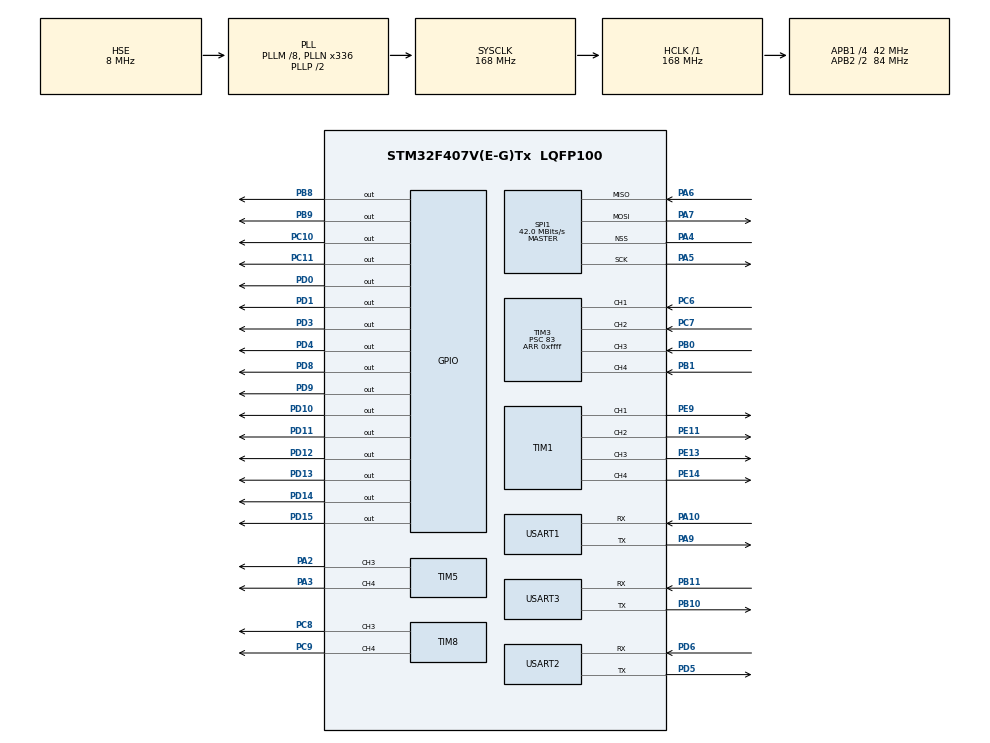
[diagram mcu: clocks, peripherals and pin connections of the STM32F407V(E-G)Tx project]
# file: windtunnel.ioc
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Dma.Request0=USART1_TX
Dma.USART1_TX.0.Channel=DMA_CHANNEL_4
Dma.USART1_TX.0.Direction=DMA_MEMORY_TO_PERIPH
Dma.USART1_TX.0.FIFOMode=DMA_FIFOMODE_DISABLE
Dma.USART1_TX.0.FIFOThreshold=DMA_FIFO_THRESHOLD_FULL
Dma.USART1_TX.0.Instance=DMA2_Stream7
Dma.USART1_TX.0.MemBurst=DMA_MBURST_SINGLE
Dma.USART1_TX.0.MemDataAlignment=DMA_MDATAALIGN_BYTE
Dma.USART1_TX.0.MemInc=DMA_MINC_ENABLE
Dma.USART1_TX.0.Mode=DMA_NORMAL
Dma.USART1_TX.0.PeriphBurst=DMA_PBURST_SINGLE
Dma.USART1_TX.0.PeriphDataAlignment=DMA_PDATAALIGN_BYTE
Dma.USART1_TX.0.PeriphInc=DMA_PINC_DISABLE
Dma.USART1_TX.0.Priority=DMA_PRIORITY_HIGH
FREERTOS.Tasks01=defaultTask,0,128,StartDefaultTask
Mcu.Family=STM32F4
Mcu.Name=STM32F407V(E-G)Tx
Mcu.Package=LQFP100
NVIC.DMA2_Stream7_IRQn=true\:5\:0\:false
NVIC.PriorityGroup=NVIC_PRIORITYGROUP_4
NVIC.TIM3_IRQn=true\:6\:0\:true
NVIC.USART1_IRQn=true\:5\:0\:true
PA10.Mode=Asynchronous
PA10.Signal=USART1_RX
PA13.Mode=Serial-Wire
PA13.Signal=SYS_JTMS-SWDIO
PA14.Mode=Serial-Wire
PA14.Signal=SYS_JTCK-SWCLK
PA2.Signal=S_TIM5_CH3
PA3.Signal=S_TIM5_CH4
PA4.Mode=NSS_Signal_Hard
PA4.Signal=SPI1_NSS
PA5.Mode=Full_Duplex_Master
PA5.Signal=SPI1_SCK
PA6.Mode=Full_Duplex_Master
PA6.Signal=SPI1_MISO
PA7.Mode=Full_Duplex_Master
PA7.Signal=SPI1_MOSI
PA9.Mode=Asynchronous
PA9.Signal=USART1_TX
PB0.GPIO_ModeDefaultPP=GPIO_MODE_AF_PP
PB0.GPIO_PuPd=GPIO_PULLDOWN
PB0.GPIO_Speed=GPIO_SPEED_HIGH
PB0.Signal=S_TIM3_CH3
PB1.GPIO_ModeDefaultPP=GPIO_MODE_AF_PP
PB1.GPIO_PuPd=GPIO_PULLDOWN
PB1.GPIO_Speed=GPIO_SPEED_HIGH
PB1.Signal=S_TIM3_CH4
PB10.Mode=Asynchronous
PB10.Signal=USART3_TX
PB11.Mode=Asynchronous
PB11.Signal=USART3_RX
PB8.GPIO_ModeDefaultOutputPP=GPIO_MODE_OUTPUT_PP
PB8.GPIO_PuPd=GPIO_NOPULL
PB8.GPIO_Speed=GPIO_SPEED_HIGH
PB8.Signal=GPIO_Output
PB9.GPIO_ModeDefaultOutputPP=GPIO_MODE_OUTPUT_PP
PB9.GPIO_PuPd=GPIO_NOPULL
PB9.GPIO_Speed=GPIO_SPEED_HIGH
PB9.Signal=GPIO_Output
PC10.GPIO_ModeDefaultOutputPP=GPIO_MODE_OUTPUT_PP
PC10.GPIO_PuPd=GPIO_NOPULL
PC10.GPIO_Speed=GPIO_SPEED_HIGH
PC10.Signal=GPIO_Output
PC11.GPIO_ModeDefaultOutputPP=GPIO_MODE_OUTPUT_PP
PC11.GPIO_PuPd=GPIO_NOPULL
PC11.GPIO_Speed=GPIO_SPEED_HIGH
PC11.Signal=GPIO_Output
PC14-OSC32_IN.Mode=LSE-External-Oscillator
PC14-OSC32_IN.Signal=RCC_OSC32_IN
PC15-OSC32_OUT.Mode=LSE-External-Oscillator
PC15-OSC32_OUT.Signal=RCC_OSC32_OUT
PC6.GPIO_ModeDefaultPP=GPIO_MODE_AF_PP
PC6.GPIO_PuPd=GPIO_PULLDOWN
PC6.GPIO_Speed=GPIO_SPEED_HIGH
PC6.Signal=S_TIM3_CH1
PC7.GPIO_ModeDefaultPP=GPIO_MODE_AF_PP
PC7.GPIO_PuPd=GPIO_PULLDOWN
PC7.GPIO_Speed=GPIO_SPEED_HIGH
PC7.Signal=S_TIM3_CH2
PC8.Signal=S_TIM8_CH3
PC9.Signal=S_TIM8_CH4
PD0.GPIO_ModeDefaultOutputPP=GPIO_MODE_OUTPUT_PP
PD0.GPIO_PuPd=GPIO_NOPULL
PD0.GPIO_Speed=GPIO_SPEED_HIGH
PD0.Signal=GPIO_Output
PD1.GPIO_ModeDefaultOutputPP=GPIO_MODE_OUTPUT_PP
PD1.GPIO_PuPd=GPIO_NOPULL
PD1.GPIO_Speed=GPIO_SPEED_HIGH
PD1.Signal=GPIO_Output
PD10.GPIO_ModeDefaultOutputPP=GPIO_MODE_OUTPUT_PP
PD10.GPIO_PuPd=GPIO_NOPULL
PD10.GPIO_Speed=GPIO_SPEED_HIGH
PD10.Signal=GPIO_Output
PD11.GPIO_ModeDefaultOutputPP=GPIO_MODE_OUTPUT_PP
PD11.GPIO_PuPd=GPIO_NOPULL
PD11.GPIO_Speed=GPIO_SPEED_HIGH
PD11.Signal=GPIO_Output
PD12.GPIO_ModeDefaultOutputPP=GPIO_MODE_OUTPUT_PP
PD12.GPIO_PuPd=GPIO_NOPULL
PD12.GPIO_Speed=GPIO_SPEED_HIGH
PD12.Signal=GPIO_Output
PD13.GPIO_ModeDefaultOutputPP=GPIO_MODE_OUTPUT_PP
PD13.GPIO_PuPd=GPIO_NOPULL
PD13.GPIO_Speed=GPIO_SPEED_HIGH
PD13.Signal=GPIO_Output
PD14.GPIO_ModeDefaultOutputPP=GPIO_MODE_OUTPUT_PP
PD14.GPIO_PuPd=GPIO_NOPULL
PD14.GPIO_Speed=GPIO_SPEED_HIGH
PD14.Signal=GPIO_Output
PD15.GPIO_ModeDefaultOutputPP=GPIO_MODE_OUTPUT_PP
PD15.GPIO_PuPd=GPIO_NOPULL
PD15.GPIO_Speed=GPIO_SPEED_HIGH
PD15.Signal=GPIO_Output
PD3.GPIO_ModeDefaultOutputPP=GPIO_MODE_OUTPUT_PP
PD3.GPIO_PuPd=GPIO_NOPULL
PD3.GPIO_Speed=GPIO_SPEED_HIGH
PD3.Signal=GPIO_Output
PD4.GPIO_ModeDefaultOutputPP=GPIO_MODE_OUTPUT_PP
PD4.GPIO_PuPd=GPIO_NOPULL
PD4.GPIO_Speed=GPIO_SPEED_HIGH
PD4.Signal=GPIO_Output
PD5.Mode=Asynchronous
PD5.Signal=USART2_TX
PD6.Mode=Asynchronous
PD6.Signal=USART2_RX
PD8.GPIO_ModeDefaultOutputPP=GPIO_MODE_OUTPUT_PP
PD8.GPIO_PuPd=GPIO_NOPULL
PD8.GPIO_Speed=GPIO_SPEED_HIGH
PD8.Signal=GPIO_Output
PD9.GPIO_ModeDefaultOutputPP=GPIO_MODE_OUTPUT_PP
PD9.GPIO_PuPd=GPIO_NOPULL
PD9.GPIO_Speed=GPIO_SPEED_HIGH
PD9.Signal=GPIO_Output
PE11.Signal=S_TIM1_CH2
PE13.Signal=S_TIM1_CH3
PE14.Signal=S_TIM1_CH4
PE9.Signal=S_TIM1_CH1
PH0-OSC_IN.Mode=HSE-External-Oscillator
PH0-OSC_IN.Signal=RCC_OSC_IN
PH1-OSC_OUT.Mode=HSE-External-Oscillator
PH1-OSC_OUT.Signal=RCC_OSC_OUT
ProjectManager.TargetToolchain=MDK-ARM V5
RCC.48MHZClocksFreq_Value=84000000
RCC.AHBFreq_Value=168000000
RCC.APB1CLKDivider=RCC_HCLK_DIV4
RCC.APB1Freq_Value=42000000
RCC.APB1TimFreq_Value=84000000
RCC.APB2CLKDivider=RCC_HCLK_DIV2
RCC.APB2Freq_Value=84000000
RCC.APB2TimFreq_Value=168000000
RCC.CortexFreq_Value=168000000
RCC.HCLKFreq_Value=168000000
RCC.HSE_VALUE=8000000
RCC.HSI_VALUE=16000000
RCC.PLLM=8
RCC.PLLN=336
RCC.PLLSourceVirtual=RCC_PLLSOURCE_HSE
RCC.SYSCLKFreq_VALUE=168000000
RCC.SYSCLKSource=RCC_SYSCLKSOURCE_PLLCLK
RCC.VCOOutputFreq_Value=336000000
SH.S_TIM1_CH1.0=TIM1_CH1,PWM Generation1 CH1
SH.S_TIM1_CH2.0=TIM1_CH2,PWM Generation2 CH2
SH.S_TIM1_CH3.0=TIM1_CH3,PWM Generation3 CH3
SH.S_TIM1_CH4.0=TIM1_CH4,PWM Generation4 CH4
SH.S_TIM3_CH1.0=TIM3_CH1,Input_Capture1_from_TI1
SH.S_TIM3_CH2.0=TIM3_CH2,Input_Capture2_from_TI2
SH.S_TIM3_CH3.0=TIM3_CH3,Input_Capture3_from_TI3
SH.S_TIM3_CH4.0=TIM3_CH4,Input_Capture4_from_TI4
SH.S_TIM5_CH3.0=TIM5_CH3,PWM Generation3 CH3
SH.S_TIM5_CH4.0=TIM5_CH4,PWM Generation4 CH4
SH.S_TIM8_CH3.0=TIM8_CH3,PWM Generation3 CH3
SH.S_TIM8_CH4.0=TIM8_CH4,PWM Generation4 CH4
SPI1.BaudRatePrescaler=SPI_BAUDRATEPRESCALER_2
SPI1.CalculateBaudRate=42.0 MBits/s
SPI1.Mode=SPI_MODE_MASTER
SPI1.VirtualNSS=VM_NSSHARD
TIM1.Channel-PWM\ Generation2\ CH2=TIM_CHANNEL_2
TIM1.Channel-PWM\ Generation3\ CH3=TIM_CHANNEL_3
TIM1.Channel-PWM\ Generation4\ CH4=TIM_CHANNEL_4
TIM3.Channel-Input_Capture2_from_TI2=TIM_CHANNEL_2
TIM3.Channel-Input_Capture3_from_TI3=TIM_CHANNEL_3
TIM3.Channel-Input_Capture4_from_TI4=TIM_CHANNEL_4
TIM3.Period=0xffff
TIM3.Prescaler=83
TIM5.Channel-PWM\ Generation3\ CH3=TIM_CHANNEL_3
TIM5.Channel-PWM\ Generation4\ CH4=TIM_CHANNEL_4
TIM8.Channel-PWM\ Generation3\ CH3=TIM_CHANNEL_3
TIM8.Channel-PWM\ Generation4\ CH4=TIM_CHANNEL_4
VP_FREERTOS_VS_ENABLE.Mode=Enabled
VP_TIM1_VS_ClockSourceINT.Mode=Internal
VP_TIM3_VS_ClockSourceINT.Mode=Internal
VP_TIM5_VS_ClockSourceINT.Mode=Internal
VP_TIM8_VS_ClockSourceINT.Mode=Internal
board=windtunnel

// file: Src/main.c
/**
  ******************************************************************************
  * File Name          : main.c
  * Description        : Main program body
  ******************************************************************************
  *
  * COPYRIGHT(c) 2016 STMicroelectronics
  *
  * Redistribution and use in source and binary forms, with or without modification,
  * are permitted provided that the following conditions are met:
  *   1. Redistributions of source code must retain the above copyright notice,
  *      this list of conditions and the following disclaimer.
  *   2. Redistributions in binary form must reproduce the above copyright notice,
  *      this list of conditions and the following disclaimer in the documentation
  *      and/or other materials provided with the distribution.
  *   3. Neither the name of STMicroelectronics nor the names of its contributors
  *      may be used to endorse or promote products derived from this software
  *      without specific prior written permission.
  *
  * THIS SOFTWARE IS PROVIDED BY THE COPYRIGHT HOLDERS AND CONTRIBUTORS "AS IS"
  * AND ANY EXPRESS OR IMPLIED WARRANTIES, INCLUDING, BUT NOT LIMITED TO, THE
  * IMPLIED WARRANTIES OF MERCHANTABILITY AND FITNESS FOR A PARTICULAR PURPOSE ARE
  * DISCLAIMED. IN NO EVENT SHALL THE COPYRIGHT HOLDER OR CONTRIBUTORS BE LIABLE
  * FOR ANY DIRECT, INDIRECT, INCIDENTAL, SPECIAL, EXEMPLARY, OR CONSEQUENTIAL
  * DAMAGES (INCLUDING, BUT NOT LIMITED TO, PROCUREMENT OF SUBSTITUTE GOODS OR
  * SERVICES; LOSS OF USE, DATA, OR PROFITS; OR BUSINESS INTERRUPTION) HOWEVER
  * CAUSED AND ON ANY THEORY OF LIABILITY, WHETHER IN CONTRACT, STRICT LIABILITY,
  * OR TORT (INCLUDING NEGLIGENCE OR OTHERWISE) ARISING IN ANY WAY OUT OF THE USE
  * OF THIS SOFTWARE, EVEN IF ADVISED OF THE POSSIBILITY OF SUCH DAMAGE.
  *
  ******************************************************************************
  */
#include "stm32f4xx_hal.h"
#include "cmsis_os.h"
#include "dma.h"
#include "spi.h"
#include "tim.h"
#include "usart.h"
#include "gpio.h"

/* USER CODE BEGIN PV */
/* Private variables ---------------------------------------------------------*/

/* USER CODE END PV */

void SystemClock_Config(void);
void MX_FREERTOS_Init(void);

/* USER CODE BEGIN PFP */
/* Private function prototypes -----------------------------------------------*/

/* USER CODE END PFP */

int main(void)
{

  /* MCU Configuration----------------------------------------------------------*/

  /* Reset of all peripherals, Initializes the Flash interface and the Systick. */
  HAL_Init();

  /* Configure the system clock */
  SystemClock_Config();

  /* Initialize all configured peripherals */
  MX_GPIO_Init();
  MX_DMA_Init();
  MX_SPI1_Init();
  MX_TIM1_Init();
  MX_TIM3_Init();
  MX_TIM5_Init();
  MX_TIM8_Init();
  MX_USART1_UART_Init();
  MX_USART2_UART_Init();
  MX_USART3_UART_Init();

  /* USER CODE BEGIN 2 */
	HAL_TIM_IC_Start_IT(&htim3,TIM_CHANNEL_1);
	HAL_TIM_IC_Start_IT(&htim3,TIM_CHANNEL_2);
	HAL_TIM_IC_Start_IT(&htim3,TIM_CHANNEL_3);
	HAL_TIM_IC_Start_IT(&htim3,TIM_CHANNEL_4);

	HAL_TIM_Base_Start_IT(&htim3);

	HAL_TIM_PWM_Start(&htim1,  TIM_CHANNEL_1);
	HAL_TIM_PWM_Start(&htim1,  TIM_CHANNEL_2);
	HAL_TIM_PWM_Start(&htim1,  TIM_CHANNEL_3);
	HAL_TIM_PWM_Start(&htim1,  TIM_CHANNEL_4);
	HAL_TIM_PWM_Start(&htim5,  TIM_CHANNEL_3);
	HAL_TIM_PWM_Start(&htim5,  TIM_CHANNEL_4);
	HAL_TIM_PWM_Start(&htim8,  TIM_CHANNEL_3);
	HAL_TIM_PWM_Start(&htim8,  TIM_CHANNEL_4);
	__HAL_UART_ENABLE_IT(&huart1, UART_IT_RXNE);
	//USART1->CR3|=USART_CR3_DMAT;
  /* USER CODE END 2 */

  /* Call init function for freertos objects (in freertos.c) */
  MX_FREERTOS_Init();

  /* Start scheduler */
  osKernelStart();

  /* We should never get here as control is now taken by the scheduler */

  /* Infinite loop */
  while (1)
  {

  }

}

/** System Clock Configuration
*/
void SystemClock_Config(void)
{

  RCC_OscInitTypeDef RCC_OscInitStruct;
  RCC_ClkInitTypeDef RCC_ClkInitStruct;

  __PWR_CLK_ENABLE();

  __HAL_PWR_VOLTAGESCALING_CONFIG(PWR_REGULATOR_VOLTAGE_SCALE1);

  RCC_OscInitStruct.OscillatorType = RCC_OSCILLATORTYPE_HSE;
  RCC_OscInitStruct.HSEState = RCC_HSE_ON;
  RCC_OscInitStruct.PLL.PLLState = RCC_PLL_ON;
  RCC_OscInitStruct.PLL.PLLSource = RCC_PLLSOURCE_HSE;
  RCC_OscInitStruct.PLL.PLLM = 8;
  RCC_OscInitStruct.PLL.PLLN = 336;
  RCC_OscInitStruct.PLL.PLLP = RCC_PLLP_DIV2;
  RCC_OscInitStruct.PLL.PLLQ = 4;
  HAL_RCC_OscConfig(&RCC_OscInitStruct);

  RCC_ClkInitStruct.ClockType = RCC_CLOCKTYPE_SYSCLK|RCC_CLOCKTYPE_PCLK1
                              |RCC_CLOCKTYPE_PCLK2;
  RCC_ClkInitStruct.SYSCLKSource = RCC_SYSCLKSOURCE_PLLCLK;
  RCC_ClkInitStruct.AHBCLKDivider = RCC_SYSCLK_DIV1;
  RCC_ClkInitStruct.APB1CLKDivider = RCC_HCLK_DIV4;
  RCC_ClkInitStruct.APB2CLKDivider = RCC_HCLK_DIV2;
  HAL_RCC_ClockConfig(&RCC_ClkInitStruct, FLASH_LATENCY_5);

  HAL_SYSTICK_Config(HAL_RCC_GetHCLKFreq()/1000);

  HAL_SYSTICK_CLKSourceConfig(SYSTICK_CLKSOURCE_HCLK);

}

/************************ (C) COPYRIGHT STMicroelectronics *****END OF FILE****/

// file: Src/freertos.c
/**
  ******************************************************************************
  * File Name          : freertos.c
  * Description        : Code for freertos applications
  ******************************************************************************
  *
  * COPYRIGHT(c) 2016 STMicroelectronics
  *
  * Redistribution and use in source and binary forms, with or without modification,
  * are permitted provided that the following conditions are met:
  *   1. Redistributions of source code must retain the above copyright notice,
  *      this list of conditions and the following disclaimer.
  *   2. Redistributions in binary form must reproduce the above copyright notice,
  *      this list of conditions and the following disclaimer in the documentation
  *      and/or other materials provided with the distribution.
  *   3. Neither the name of STMicroelectronics nor the names of its contributors
  *      may be used to endorse or promote products derived from this software
  *      without specific prior written permission.
  *
  * THIS SOFTWARE IS PROVIDED BY THE COPYRIGHT HOLDERS AND CONTRIBUTORS "AS IS"
  * AND ANY EXPRESS OR IMPLIED WARRANTIES, INCLUDING, BUT NOT LIMITED TO, THE
  * IMPLIED WARRANTIES OF MERCHANTABILITY AND FITNESS FOR A PARTICULAR PURPOSE ARE
  * DISCLAIMED. IN NO EVENT SHALL THE COPYRIGHT HOLDER OR CONTRIBUTORS BE LIABLE
  * FOR ANY DIRECT, INDIRECT, INCIDENTAL, SPECIAL, EXEMPLARY, OR CONSEQUENTIAL
  * DAMAGES (INCLUDING, BUT NOT LIMITED TO, PROCUREMENT OF SUBSTITUTE GOODS OR
  * SERVICES; LOSS OF USE, DATA, OR PROFITS; OR BUSINESS INTERRUPTION) HOWEVER
  * CAUSED AND ON ANY THEORY OF LIABILITY, WHETHER IN CONTRACT, STRICT LIABILITY,
  * OR TORT (INCLUDING NEGLIGENCE OR OTHERWISE) ARISING IN ANY WAY OUT OF THE USE
  * OF THIS SOFTWARE, EVEN IF ADVISED OF THE POSSIBILITY OF SUCH DAMAGE.
  *
  ******************************************************************************
  */

#include "FreeRTOS.h"
#include "task.h"
#include "cmsis_os.h"

/* USER CODE BEGIN Includes */
#include "include.h"
/* USER CODE END Includes */

osThreadId defaultTaskHandle;

/* USER CODE BEGIN Variables */
osMessageQId msgQueueAngle = NULL;
osMessageQId msgQueueRpm = NULL;
osMessageQId msgInQueueHandle = NULL;

osSemaphoreId msgOutBinarySemHandle;

EventGroupHandle_t xCreatedEventGroup = NULL;

uint8_t pingpang[256];
uint8_t pingpang_idx;
uint16_t Motor_RPM_1[4];
uint16_t Angle[8];
uint16_t flag_updata;
uint16_t flag_updata_1;
uint16_t flag_updata_2;
uint16_t flag_updata_3;
uint16_t data;
/* USER CODE END Variables */

void StartDefaultTask(void const * argument);

void MX_FREERTOS_Init(void); /* (MISRA C 2004 rule 8.1) */

/* USER CODE BEGIN FunctionPrototypes */
void AS5600Thread(void const * argument);
void StartSampleThread(void const * argument);
void DataReceiveThread(void const * argument);
void StartMsgSendThread(void const * argument);

/* USER CODE END FunctionPrototypes */

/* Hook prototypes */

/* Init FreeRTOS */

void MX_FREERTOS_Init(void) {
  /* USER CODE BEGIN Init */

    uint16_t Hall[4];
	uint8_t data;
  /* USER CODE END Init */

  /* Create the thread(s) */
  /* definition and creation of defaultTask */
	osThreadDef(defaultTask, StartDefaultTask, osPriorityNormal, 0, 128);
	defaultTaskHandle = osThreadCreate(osThread(defaultTask), NULL);

  /* USER CODE BEGIN RTOS_THREADS */
  /* add threads, ... */
	osThreadDef(AS5600_Thread1,AS5600Thread,0,0,512);
	osThreadCreate(osThread(AS5600_Thread1),NULL);

	osThreadDef(StartSampleThread,StartSampleThread,1,0,512);
	osThreadCreate(osThread(StartSampleThread),NULL);

	osThreadDef(Data_Receive_Thread3,DataReceiveThread,3,0,512);
	osThreadCreate(osThread(Data_Receive_Thread3),NULL);

	osThreadDef(StartMsgSendThread, StartMsgSendThread,2, 0, 128);
	osThreadCreate(osThread(StartMsgSendThread), NULL);
  /* USER CODE END RTOS_THREADS */

  /* USER CODE BEGIN RTOS_QUEUES */
  /* add queues, ... */

	osMessageQDef(Queue3,128,uint8_t[4]);
	msgInQueueHandle=osMessageCreate(osMessageQ(Queue3),NULL);

   xCreatedEventGroup = xEventGroupCreate();
  /* USER CODE END RTOS_QUEUES */
}

/* StartDefaultTask function */
void StartDefaultTask(void const * argument)
{

  for(;;)
  {
    osDelay(1);
  }
}

/* USER CODE BEGIN Application */

void AS5600Thread(void const * argument)
{

	TickType_t xLastWakeTime;
	const TickType_t xFrequency = 10;
	//TickType_t count;
	//TickType_t count_1;
	xLastWakeTime = xTaskGetTickCount();
	for(;;)
	{
		//vTaskSuspendAll();
		//taskENTER_CRITICAL();
		//count = xTaskGetTickCount();
		AS5600_DaTa_Angle(Angle);
		//count_1 = xTaskGetTickCount();
		//printf("{%d,%d}",count,count_1);
		//taskEXIT_CRITICAL();
		//xTaskResumeAll();
	    xEventGroupSetBits( xCreatedEventGroup, /* 事件标志组句柄 */
														BIT_0 );           /* 设置bit0 */
		vTaskDelayUntil(&xLastWakeTime, xFrequency);
	}
}

void StartMsgSendThread(void const * argument)
{
	uint8_t s;
	/* Infinite loop */
	for(;;)
	{
		if(pingpang_idx != 0x00&&pingpang_idx != 0x80)
		{
			osSemaphoreWait(msgOutBinarySemHandle,10);
			if( pingpang_idx > 0x80)
			{
				s = pingpang_idx - 0x80;
				pingpang_idx = 0x00;
				HAL_UART_Transmit_DMA( &huart1, pingpang + 0x80 ,s);
			}
			else
			{
				s = pingpang_idx;
				pingpang_idx = 0x80;
				HAL_UART_Transmit_DMA( &huart1, pingpang, s );
			}
		}
		else
		{
			vTaskDelay(1);
		}
	}
}

void HAL_TIM_IC_CaptureCallback(TIM_HandleTypeDef *htim)
{
	BaseType_t xHigherPriorityTaskWoken = pdFALSE;
	UBaseType_t uxSavedInterruptStatus;
	static uint32_t value[4];
	static uint8_t   flag=0,flag_1=0,flag_2=0,flag_3=0;
	static uint16_t temp_cnt1,temp_cnt1_2,temp_cnt2,temp_cnt2_2,temp_cnt3,temp_cnt3_2,temp_cnt4,temp_cnt4_2;
	if(__HAL_TIM_GET_FLAG(htim, TIM_FLAG_CC1) != RESET)
	{
		if(flag==0)
		{
			flag_updata =0;
			temp_cnt1 = TIM3->CCR1;
			flag=1;
		}
		else
		{
			temp_cnt1_2 = TIM3->CCR1;
			if( flag_updata == 0 && temp_cnt1_2>=temp_cnt1)
			{
				value[0] = (temp_cnt1_2-temp_cnt1);
			}
			else
			{
				value[0] = (0xffff-temp_cnt1+temp_cnt1_2+1)+ (0xffff + 1) * (flag_updata-1);
				data = flag_updata;
			}
			Motor_RPM_1[0]=60000000/value[0];
			flag_updata = 0;
			flag=0;
		}
		__HAL_TIM_CLEAR_IT(htim, TIM_IT_CC1);
	}
	if(__HAL_TIM_GET_FLAG(htim, TIM_FLAG_CC2) != RESET)
	{
		if(flag_1==0)
		{
			flag_updata_1 = 0;
			temp_cnt2 = TIM3->CCR2;
			flag_1=1;
		}
		else
		{
			temp_cnt2_2 = TIM3->CCR2;
			if( flag_updata_1 == 0 )
			{
				value[1] =( temp_cnt2_2-temp_cnt2 );
			}
			else
			{
				value[1] = (0xffff-temp_cnt2+temp_cnt2_2+1) +(0xffff + 1) * (flag_updata_1-1);
			}
			Motor_RPM_1[1]=60000000/value[1];
			flag_1=0;
		}
		__HAL_TIM_CLEAR_IT(htim, TIM_IT_CC2);
	}
	if(__HAL_TIM_GET_FLAG(htim, TIM_FLAG_CC3) != RESET)
	{
		if(flag_2==0)
		{
			flag_updata_2 = 0;
			temp_cnt3 = TIM3->CCR3;
			flag_2=1;
		}
		else
		{
			temp_cnt3_2 = TIM3->CCR3;
			if( flag_updata_2 == 0)
				value[2] = (temp_cnt3_2-temp_cnt3);
			else
				value[2] = (0xffff-temp_cnt3+temp_cnt3_2+1) + (0xffff + 1) * (flag_updata_2-1);
			Motor_RPM_1[2]=60000000/value[2];
			flag_2=0;
		}
		__HAL_TIM_CLEAR_IT(htim, TIM_IT_CC3);
	}
	if(__HAL_TIM_GET_FLAG(htim, TIM_FLAG_CC4) != RESET)
	{
		if(flag_3==0)
		{
			flag_updata_3 = 0;
			temp_cnt4 = TIM3->CCR4;
			flag_3=1;
		}
		else
		{
			temp_cnt4_2 = TIM3->CCR4;
			if(flag_updata_3 == 0)
				value[3] = (temp_cnt4_2 - temp_cnt4);
			else
				value[3] =( 0xffff - temp_cnt4 + temp_cnt4_2 + 1) +(0xffff + 1) * (flag_updata_3-1);
			Motor_RPM_1[3]=60000000 / value[3];

			flag_3=0;
		}
		__HAL_TIM_CLEAR_IT(htim, TIM_IT_CC4);
	}

	xEventGroupSetBitsFromISR(xCreatedEventGroup, /* 事件标志组句柄 */
														BIT_1 ,             /* 设置bit1 */
														&xHigherPriorityTaskWoken );

	portYIELD_FROM_ISR(xHigherPriorityTaskWoken);

}

void comm_send_ch(int chan, uint8_t ch)
{
	pingpang[pingpang_idx++]=ch;
}

void HAL_UART_TxCpltCallback(UART_HandleTypeDef *huart)
{
	if (huart == &huart2)
	{
		osSemaphoreRelease(msgOutBinarySemHandle);
	}
}

void HAL_UART_ErrorCallback(UART_HandleTypeDef *huart)
{
	if (huart == &huart2)
	{
		//TODO precess by error types
		osSemaphoreRelease(msgOutBinarySemHandle);
	}
}

void HAL_TIM_PeriodElapsedCallback(TIM_HandleTypeDef *htim)
{
	flag_updata++;
	flag_updata_1++;
	flag_updata_2++;
	flag_updata_3++;
}

/* USER CODE END Application */

/************************ (C) COPYRIGHT STMicroelectronics *****END OF FILE****/
